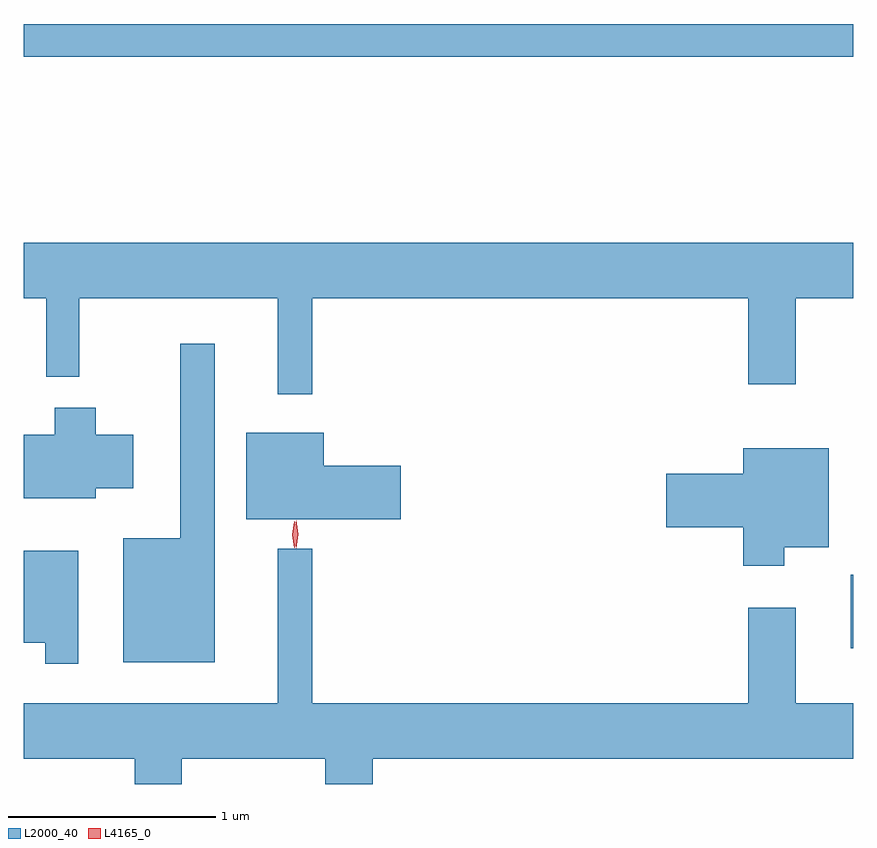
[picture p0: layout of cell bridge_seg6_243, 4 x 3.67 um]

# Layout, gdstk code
import gdstk
lib = gdstk.Library(unit=1e-6, precision=1e-09)
def R(c, l, rs):  # rectangles x0, y0, x1, y1
    for r in rs: c.add(gdstk.rectangle(r[:2], r[2:], *l))
def P(c, l, *ps):  # polygons
    for p in ps: c.add(gdstk.Polygon(p, *l))
L2000_40 = (2000, 40)
L4165_0 = (4165, 0)

bridge_seg6_243 = lib.new_cell('bridge_seg6_243')
R(bridge_seg6_243, L2000_40, [(1400.186,1572.768,1400.197,1573.124), (1396.197,1575.621,1400.197,1575.779)])
P(bridge_seg6_243, L2000_40, [(1397.589,1574.456),(1399.691,1574.456),(1399.691,1574.041),(1399.919,1574.041),(1399.919,1574.456),(1400.197,1574.456),(1400.197,1574.724),(1396.197,1574.724),(1396.197,1574.456),(1396.306,1574.456),(1396.306,1574.078),(1396.464,1574.078),(1396.464,1574.456),(1397.421,1574.456),(1397.421,1573.993),(1397.589,1573.993)],
  [(1397.119,1574.238),(1396.951,1574.238),(1396.951,1573.299),(1396.676,1573.299),(1396.676,1572.701),(1397.119,1572.701)],
  [(1396.544,1573.541),(1396.724,1573.541),(1396.724,1573.799),(1396.544,1573.799),(1396.544,1573.929),(1396.346,1573.929),(1396.346,1573.799),(1396.197,1573.799),(1396.197,1573.491),(1396.544,1573.491)],
  [(1398.014,1573.649),(1397.644,1573.649),(1397.644,1573.809),(1397.271,1573.809),(1397.271,1573.391),(1398.014,1573.391)],
  [(1399.864,1573.256),(1400.079,1573.256),(1400.079,1573.734),(1399.666,1573.734),(1399.666,1573.609),(1399.296,1573.609),(1399.296,1573.351),(1399.666,1573.351),(1399.666,1573.166),(1399.864,1573.166)],
  [(1396.959,1572.236),(1397.651,1572.236),(1397.651,1572.114),(1397.879,1572.114),(1397.879,1572.236),(1400.197,1572.236),(1400.197,1572.504),(1399.919,1572.504),(1399.919,1572.964),(1399.691,1572.964),(1399.691,1572.504),(1397.589,1572.504),(1397.589,1573.248),(1397.421,1573.248),(1397.421,1572.504),(1396.197,1572.504),(1396.197,1572.236),(1396.731,1572.236),(1396.731,1572.114),(1396.959,1572.114)],
  [(1396.459,1573.239),(1396.197,1573.239),(1396.197,1572.796),(1396.301,1572.796),(1396.301,1572.693),(1396.459,1572.693)])
P(bridge_seg6_243, L4165_0, [(1397.51,1573.25),(1397.51,1573.25),(1397.501,1573.318),(1397.512,1573.386),(1397.512,1573.386),(1397.512,1573.386),(1397.521,1573.318),(1397.511,1573.25)],
  [(1397.502,1573.253),(1397.492,1573.316),(1397.502,1573.379),(1397.502,1573.38),(1397.503,1573.379),(1397.512,1573.316),(1397.503,1573.253),(1397.503,1573.253)])

lib.write_gds('bridge_seg6_243.gds')
